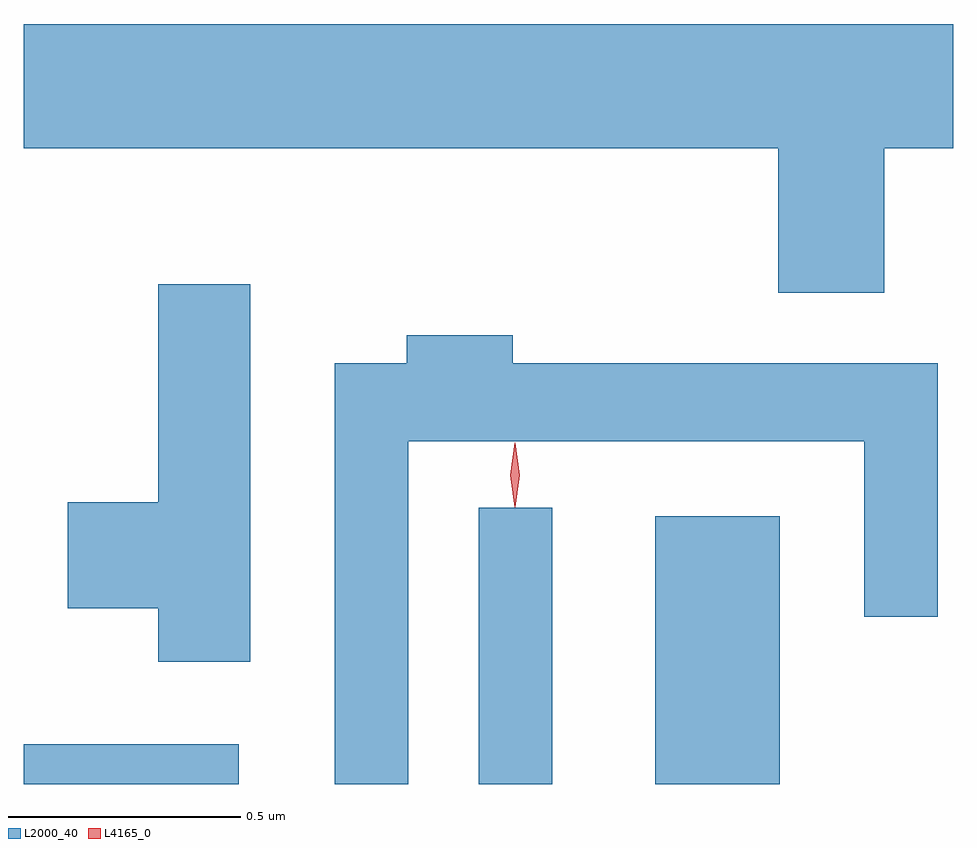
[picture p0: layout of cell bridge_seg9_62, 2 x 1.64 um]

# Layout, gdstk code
import gdstk
lib = gdstk.Library(unit=1e-6, precision=1e-09)
def R(c, l, rs):  # rectangles x0, y0, x1, y1
    for r in rs: c.add(gdstk.rectangle(r[:2], r[2:], *l))
def P(c, l, *ps):  # polygons
    for p in ps: c.add(gdstk.Polygon(p, *l))
L2000_40 = (2000, 40)
L4165_0 = (4165, 0)

bridge_seg9_62 = lib.new_cell('bridge_seg9_62')
R(bridge_seg9_62, L2000_40, [(1495.207,1977.128,1495.669,1977.214), (1496.186,1977.128,1496.344,1977.723), (1496.566,1977.128,1496.834,1977.704)])
P(bridge_seg9_62, L2000_40, [(1497.059,1978.496),(1497.207,1978.496),(1497.207,1978.764),(1495.207,1978.764),(1495.207,1978.496),(1496.831,1978.496),(1496.831,1978.186),(1497.059,1978.186)],
  [(1495.694,1978.204),(1495.496,1978.204),(1495.496,1977.734),(1495.301,1977.734),(1495.301,1977.506),(1495.496,1977.506),(1495.496,1977.391),(1495.694,1977.391)],
  [(1496.034,1977.866),(1497.016,1977.866),(1497.016,1977.488),(1497.174,1977.488),(1497.174,1978.034),(1496.259,1978.034),(1496.259,1978.094),(1496.031,1978.094),(1496.031,1978.034),(1495.876,1978.034),(1495.876,1977.128),(1496.034,1977.128)])
P(bridge_seg9_62, L4165_0, [(1496.264,1977.724),(1496.264,1977.724),(1496.254,1977.793),(1496.264,1977.863),(1496.264,1977.863),(1496.265,1977.863),(1496.274,1977.793),(1496.265,1977.724)])

lib.write_gds('bridge_seg9_62.gds')
